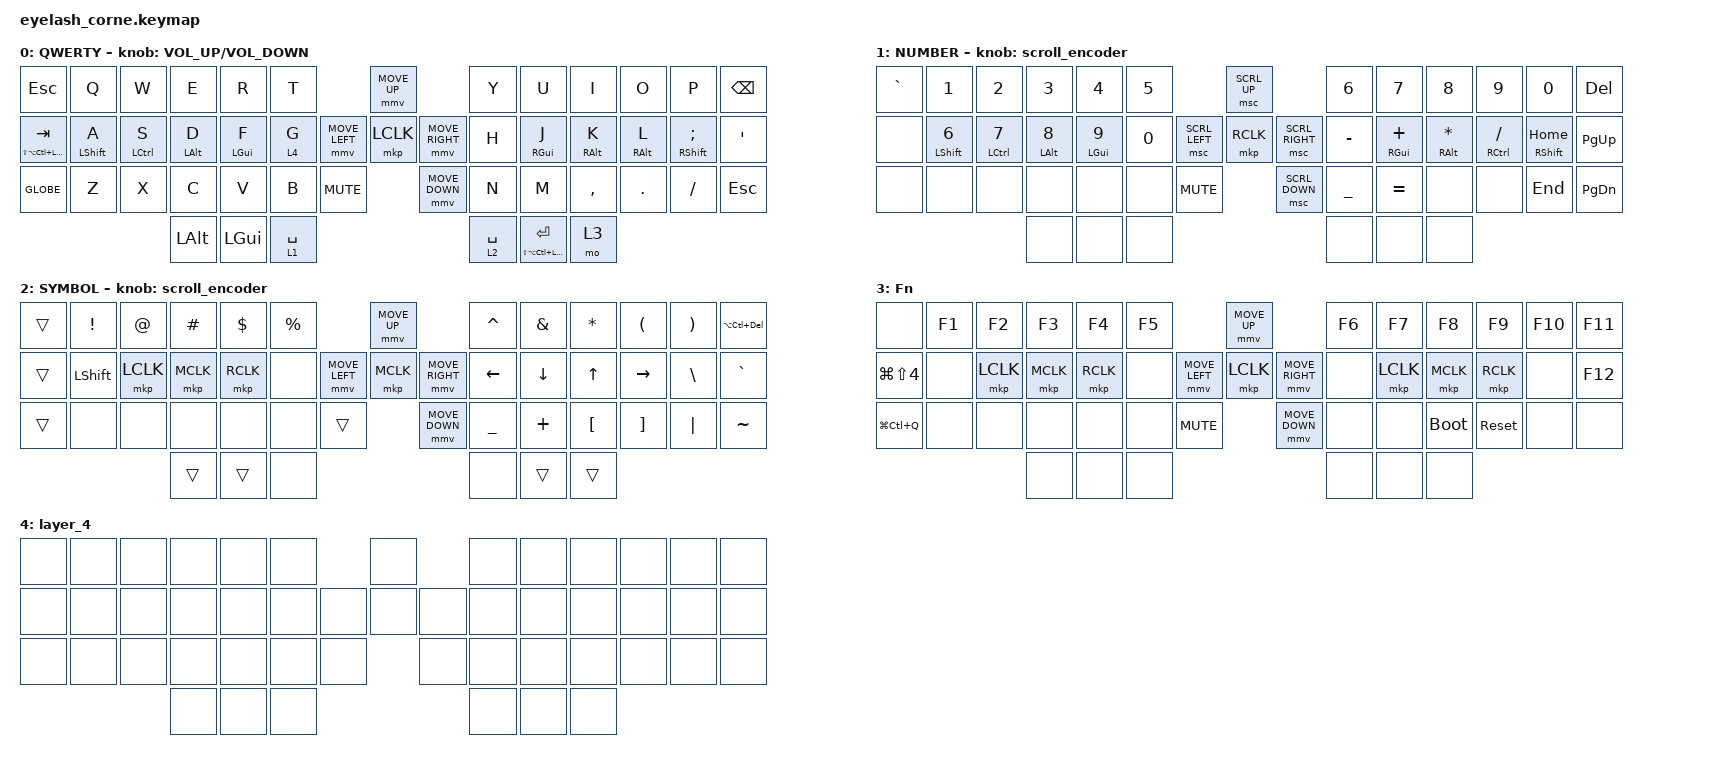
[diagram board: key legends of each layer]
#define ZMK_POINTING_DEFAULT_MOVE_VAL 1200  // 600
#define ZMK_POINTING_DEFAULT_SCRL_VAL 25   // 10

#include <input/processors.dtsi>
#include <zephyr/dt-bindings/input/input-event-codes.h>
#include <behaviors.dtsi>
#include <dt-bindings/zmk/bt.h>
#include <dt-bindings/zmk/keys.h>
#include <dt-bindings/zmk/pointing.h>
#include <dt-bindings/zmk/rgb.h>

&mmv_input_listener { input-processors = <&zip_xy_scaler 2 1>; };

&msc_input_listener { input-processors = <&zip_scroll_scaler 2 1>; };

&msc {
    acceleration-exponent = <12>;      // 0
    time-to-max-speed-ms = <30>;       // 300
    delay-ms = <0>;                   // 0
};

&mmv {
    time-to-max-speed-ms = <30>;
    acceleration-exponent = <10>;
    trigger-period-ms = <16>;
};

&soft_off { hold-time-ms = <2000>; };

&mt { flavor = "tap-preferred"; };

/ {
    behaviors {
        td0: td0 {
            compatible = "zmk,behavior-tap-dance";
            display-name = "Shift/Caps Lock Tap Dance";
            #binding-cells = <0>;
            bindings = <&kp LEFT_SHIFT>, <&kp CAPS>;
        };
    };

    rgb_encoder: rgb_encoder {
        compatible = "zmk,behavior-sensor-rotate";
        #sensor-binding-cells = <0>;
        bindings = <&rgb_ug RGB_BRI>, <&rgb_ug RGB_BRD>;
    };

    scroll_encoder: scroll_encoder {
        compatible = "zmk,behavior-sensor-rotate";
        #sensor-binding-cells = <0>;
        bindings = <&msc SCRL_DOWN>, <&msc SCRL_UP>;

        tap-ms = <100>;
    };

    combos {
        compatible = "zmk,combos";

        bt_clear_profile {
            bindings = <&bt BT_CLR>;
            key-positions = <5 4 17 18>;
            layers = <3>;
        };

        bt_1 {
            bindings = <&bt BT_SEL 0>;
            key-positions = <29 14>;
            layers = <3>;
        };

        bt_2 {
            bindings = <&bt BT_SEL 1>;
            key-positions = <15 30>;
            layers = <3>;
        };

        bt_3 {
            bindings = <&bt BT_SEL 2>;
            key-positions = <16 31>;
            layers = <3>;
        };

        bt_4 {
            bindings = <&bt BT_SEL 3>;
            key-positions = <17 32>;
            layers = <3>;
        };

        bt_5 {
            bindings = <&bt BT_SEL 4>;
            key-positions = <18 33>;
            layers = <3>;
        };

        rgb_off {
            bindings = <&rgb_ug RGB_OFF>;
            key-positions = <36 22>;
            layers = <3>;
        };

        soff_off {
            bindings = <&soft_off>;
            key-positions = <0 13 14 1>;
            layers = <3>;
        };
    };

    keymap {
        compatible = "zmk,keymap";

        default_layer {
            display-name = "QWERTY";
            bindings = <
&kp ESC                       &kp Q             &kp W               &kp E           &kp R           &kp T                                      &mmv MOVE_UP                     &kp Y        &kp U                           &kp I            &kp O            &kp P                      &kp BSPC
&mt LS(LA(LC(LEFT_GUI))) TAB  &mt LEFT_SHIFT A  &mt LEFT_CONTROL S  &mt LEFT_ALT D  &mt LEFT_GUI F  &lt 4 G                    &mmv MOVE_LEFT  &mkp LCLK       &mmv MOVE_RIGHT  &kp H        &mt RIGHT_GUI J                 &mt RIGHT_ALT K  &mt RIGHT_ALT L  &mt RIGHT_SHIFT SEMICOLON  &kp SQT
&kp GLOBE                     &kp Z             &kp X               &kp C           &kp V           &kp B        &kp K_MUTE                    &mmv MOVE_DOWN                   &kp N        &kp M                           &kp COMMA        &kp DOT          &kp FSLH                   &kp ESC
                                                                    &kp LALT        &kp LEFT_GUI    &lt 1 SPACE                                                                 &lt 2 SPACE  &mt LS(LA(LC(LEFT_GUI))) ENTER  &mo 3
            >;

            sensor-bindings = <&inc_dec_kp C_VOLUME_UP C_VOLUME_DOWN>;
        };

        lower_layer {
            display-name = "NUMBER";
            bindings = <
&kp GRAVE  &kp N1                   &kp N2                     &kp N3                 &kp N4                 &kp N5                                      &msc SCRL_UP                     &kp N6          &kp N7              &kp N8                  &kp N9                  &kp N0                &kp DELETE
&none      &mt LEFT_SHIFT NUMBER_6  &mt LEFT_CONTROL NUMBER_7  &mt LEFT_ALT NUMBER_8  &mt LEFT_GUI NUMBER_9  &kp NUMBER_0                &msc SCRL_LEFT  &mkp RCLK       &msc SCRL_RIGHT  &kp MINUS       &mt RIGHT_GUI PLUS  &mt RIGHT_ALT ASTERISK  &mt RIGHT_CONTROL FSLH  &mt RIGHT_SHIFT HOME  &kp PAGE_UP
&none      &none                    &none                      &none                  &none                  &none         &kp C_MUTE                    &msc SCRL_DOWN                   &kp UNDERSCORE  &kp EQUAL           &none                   &none                   &kp END               &kp PAGE_DOWN
                                                               &none                  &none                  &none                                                                        &none           &none               &none
            >;

            sensor-bindings = <&scroll_encoder>;
        };

        raise_layer {
            display-name = "SYMBOL";
            bindings = <
&trans  &kp EXCL        &kp AT     &kp HASH   &kp DLLR   &kp PRCNT                            &mmv MOVE_UP                     &kp CARET  &kp AMPS  &kp ASTRK         &kp LPAR           &kp RPAR  &kp LA(LC(DELETE))
&trans  &kp LEFT_SHIFT  &mkp LCLK  &mkp MCLK  &mkp RCLK  &none                &mmv MOVE_LEFT  &mkp MCLK       &mmv MOVE_RIGHT  &kp LEFT   &kp DOWN  &kp UP            &kp RIGHT          &kp BSLH  &kp GRAVE
&trans  &none           &none      &none      &none      &none      &trans                    &mmv MOVE_DOWN                   &kp UNDER  &kp PLUS  &kp LEFT_BRACKET  &kp RIGHT_BRACKET  &kp PIPE  &kp TILDE
                                   &trans     &trans     &none                                                                 &none      &trans    &trans
            >;

            sensor-bindings = <&scroll_encoder>;
        };

        layer_3 {
            display-name = "Fn";
            bindings = <
&none           &kp F1  &kp F2     &kp F3     &kp F4     &kp F5                                &mmv MOVE_UP                     &kp F6  &kp F7     &kp F8       &kp F9      &kp F10  &kp F11
&kp LG(LS(N4))  &none   &mkp LCLK  &mkp MCLK  &mkp RCLK  &none                 &mmv MOVE_LEFT  &mkp LCLK       &mmv MOVE_RIGHT  &none   &mkp LCLK  &mkp MCLK    &mkp RCLK   &none    &kp F12
&kp LG(LC(Q))   &none   &none      &none      &none      &none   &kp C_MUTE                    &mmv MOVE_DOWN                   &none   &none      &bootloader  &sys_reset  &none    &none
                                   &none      &none      &none                                                                  &none   &none      &none
            >;
        };

        layer_4 {
            bindings = <
&none  &none  &none  &none  &none  &none                  &none         &none  &none  &none  &none  &none  &none
&none  &none  &none  &none  &none  &none           &none  &none  &none  &none  &none  &none  &none  &none  &none
&none  &none  &none  &none  &none  &none  &none           &none         &none  &none  &none  &none  &none  &none
                     &none  &none  &none                                &none  &none  &none
            >;
        };
    };
};
